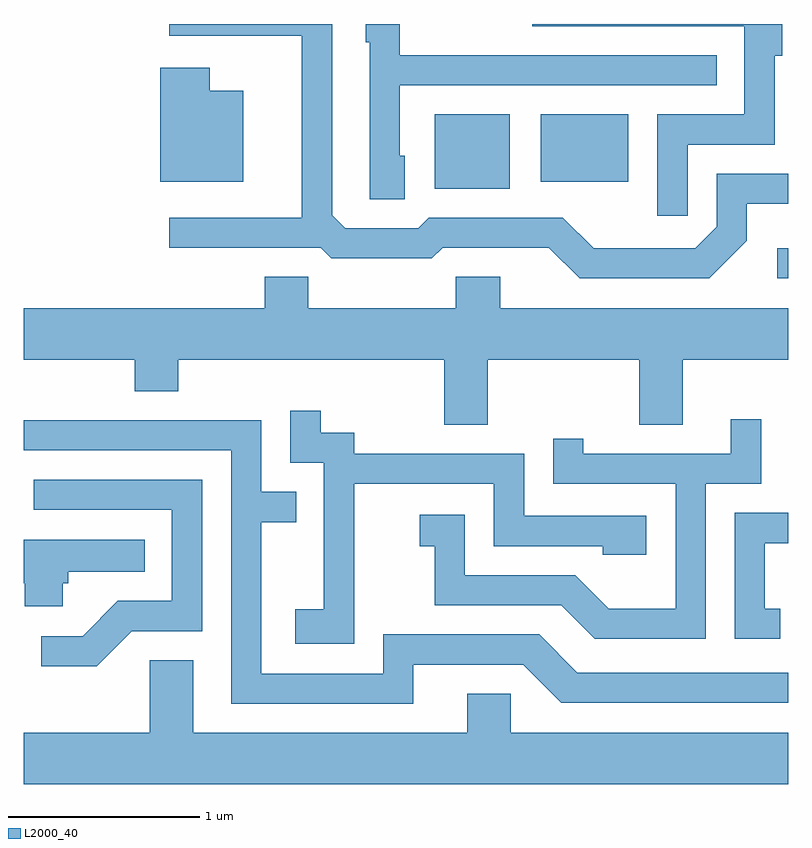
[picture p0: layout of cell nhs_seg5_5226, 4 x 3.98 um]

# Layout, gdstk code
import gdstk
lib = gdstk.Library(unit=1e-6, precision=1e-09)
def R(c, l, rs):  # rectangles x0, y0, x1, y1
    for r in rs: c.add(gdstk.rectangle(r[:2], r[2:], *l))
def P(c, l, *ps):  # polygons
    for p in ps: c.add(gdstk.Polygon(p, *l))
L2000_40 = (2000, 40)

nhs_seg5_5226 = lib.new_cell('nhs_seg5_5226')
R(nhs_seg5_5226, L2000_40, [(343.553,1492.741,343.611,1492.899), (341.761,1493.211,342.154,1493.599), (342.316,1493.246,342.774,1493.599)])
P(nhs_seg5_5226, L2000_40, [(341.604,1493.384),(341.579,1493.384),(341.579,1493.751),(343.238,1493.751),(343.238,1493.909),(341.579,1493.909),(341.579,1494.072),(341.401,1494.072),(341.401,1493.976),(341.421,1493.976),(341.421,1493.156),(341.604,1493.156)],
  [(343.084,1493.441),(343.539,1493.441),(343.539,1493.906),(343.579,1493.906),(343.579,1494.072),(342.271,1494.072),(342.271,1494.061),(343.381,1494.061),(343.381,1493.599),(342.926,1493.599),(342.926,1493.068),(343.084,1493.068)],
  [(343.394,1492.939),(343.394,1493.131),(343.611,1493.131),(343.611,1493.289),(343.236,1493.289),(343.236,1493.012),(343.124,1492.899),(342.592,1492.899),(342.432,1493.059),(341.729,1493.059),(341.674,1493.004),(341.292,1493.004),(341.224,1493.072),(341.224,1494.072),(340.373,1494.072),(340.373,1494.011),(341.066,1494.011),(341.066,1493.059),(340.373,1493.059),(340.373,1492.901),(341.164,1492.901),(341.219,1492.846),(341.747,1492.846),(341.802,1492.901),(342.359,1492.901),(342.519,1492.741),(343.197,1492.741)],
  [(340.759,1493.724),(340.584,1493.724),(340.584,1493.844),(340.326,1493.844),(340.326,1493.246),(340.759,1493.246)],
  [(342.039,1492.316),(342.831,1492.316),(342.831,1491.976),(343.059,1491.976),(343.059,1492.316),(343.611,1492.316),(343.611,1492.584),(342.104,1492.584),(342.104,1492.749),(341.871,1492.749),(341.871,1492.584),(341.099,1492.584),(341.099,1492.749),(340.871,1492.749),(340.871,1492.584),(339.611,1492.584),(339.611,1492.316),(340.191,1492.316),(340.191,1492.151),(340.419,1492.151),(340.419,1492.316),(341.811,1492.316),(341.811,1491.976),(342.039,1491.976)],
  [(341.339,1491.666),(342.071,1491.666),(342.071,1491.341),(342.641,1491.341),(342.641,1491.296),(342.869,1491.296),(342.869,1491.499),(342.229,1491.499),(342.229,1491.824),(341.339,1491.824),(341.339,1491.934),(341.164,1491.934),(341.164,1492.048),(341.006,1492.048),(341.006,1491.776),(341.181,1491.776),(341.181,1491.009),(341.031,1491.009),(341.031,1490.831),(341.339,1490.831)],
  [(343.179,1491.666),(343.469,1491.666),(343.469,1492.003),(343.311,1492.003),(343.311,1491.824),(342.539,1491.824),(342.539,1491.903),(342.381,1491.903),(342.381,1491.666),(343.021,1491.666),(343.021,1491.014),(342.672,1491.014),(342.497,1491.189),(341.919,1491.189),(341.919,1491.504),(341.683,1491.504),(341.683,1491.341),(341.761,1491.341),(341.761,1491.031),(342.424,1491.031),(342.599,1490.856),(343.179,1490.856)],
  [(341.649,1490.721),(342.224,1490.721),(342.424,1490.521),(343.611,1490.521),(343.611,1490.679),(342.507,1490.679),(342.307,1490.879),(341.491,1490.879),(341.491,1490.674),(340.854,1490.674),(340.854,1491.466),(341.038,1491.466),(341.038,1491.624),(340.854,1491.624),(340.854,1491.999),(339.611,1491.999),(339.611,1491.841),(340.696,1491.841),(340.696,1490.516),(341.649,1490.516)],
  [(340.177,1490.896),(340.544,1490.896),(340.544,1491.689),(339.663,1491.689),(339.663,1491.531),(340.386,1491.531),(340.386,1491.054),(340.104,1491.054),(339.919,1490.869),(339.703,1490.869),(339.703,1490.711),(339.992,1490.711)],
  [(343.568,1491.014),(343.489,1491.014),(343.489,1491.356),(343.611,1491.356),(343.611,1491.514),(343.331,1491.514),(343.331,1490.856),(343.568,1490.856)],
  [(339.814,1491.146),(339.844,1491.146),(339.844,1491.206),(340.243,1491.206),(340.243,1491.374),(339.611,1491.374),(339.611,1491.146),(339.616,1491.146),(339.616,1491.026),(339.814,1491.026)],
  [(343.611,1490.364),(342.159,1490.364),(342.159,1490.569),(341.931,1490.569),(341.931,1490.364),(340.499,1490.364),(340.499,1490.744),(340.271,1490.744),(340.271,1490.364),(339.611,1490.364),(339.611,1490.096),(343.611,1490.096)])

lib.write_gds('nhs_seg5_5226.gds')
